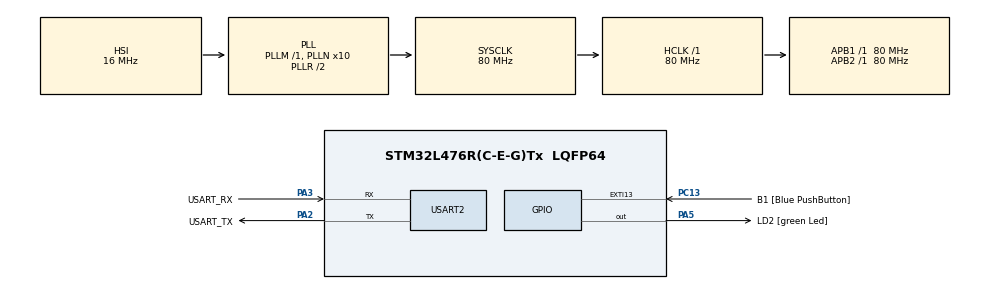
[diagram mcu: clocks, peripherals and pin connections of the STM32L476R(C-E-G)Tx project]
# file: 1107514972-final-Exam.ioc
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Mcu.Family=STM32L4
Mcu.Name=STM32L476R(C-E-G)Tx
Mcu.Package=LQFP64
NVIC.PriorityGroup=NVIC_PRIORITYGROUP_4
PA13\ (JTMS-SWDIO).GPIO_Label=TMS
PA13\ (JTMS-SWDIO).Mode=Serial_Wire
PA13\ (JTMS-SWDIO).Signal=SYS_JTMS-SWDIO
PA14\ (JTCK-SWCLK).GPIO_Label=TCK
PA14\ (JTCK-SWCLK).Mode=Serial_Wire
PA14\ (JTCK-SWCLK).Signal=SYS_JTCK-SWCLK
PA2.GPIO_Label=USART_TX
PA2.GPIO_Mode=GPIO_MODE_AF_PP
PA2.GPIO_PuPd=GPIO_NOPULL
PA2.GPIO_Speed=GPIO_SPEED_FREQ_VERY_HIGH
PA2.Mode=Asynchronous
PA2.Signal=USART2_TX
PA3.GPIO_Label=USART_RX
PA3.GPIO_Mode=GPIO_MODE_AF_PP
PA3.GPIO_PuPd=GPIO_NOPULL
PA3.GPIO_Speed=GPIO_SPEED_FREQ_VERY_HIGH
PA3.Mode=Asynchronous
PA3.Signal=USART2_RX
PA5.GPIO_Label=LD2 [green Led]
PA5.GPIO_ModeDefaultOutputPP=GPIO_MODE_OUTPUT_PP
PA5.GPIO_PuPd=GPIO_NOPULL
PA5.GPIO_Speed=GPIO_SPEED_FREQ_LOW
PA5.Signal=GPIO_Output
PB3\ (JTDO-TRACESWO).GPIO_Label=SWO
PB3\ (JTDO-TRACESWO).Signal=SYS_JTDO-SWO
PB8.Signal=I2C1_SCL
PB9.Signal=I2C1_SDA
PC13.GPIO_Label=B1 [Blue PushButton]
PC13.GPIO_ModeDefaultEXTI=GPIO_MODE_IT_FALLING
PC13.GPIO_PuPd=GPIO_NOPULL
PC13.Signal=GPXTI13
PC14-OSC32_IN\ (PC14).Mode=LSE-External-Oscillator
PC14-OSC32_IN\ (PC14).Signal=RCC_OSC32_IN
PC15-OSC32_OUT\ (PC15).Mode=LSE-External-Oscillator
PC15-OSC32_OUT\ (PC15).Signal=RCC_OSC32_OUT
PH0-OSC_IN\ (PH0).Signal=RCC_OSC_IN
PH1-OSC_OUT\ (PH1).Signal=RCC_OSC_OUT
ProjectManager.HeapSize=0x200
ProjectManager.StackSize=0x400
ProjectManager.TargetToolchain=STM32CubeIDE
RCC.ADCFreq_Value=64000000
RCC.AHBFreq_Value=80000000
RCC.APB1Freq_Value=80000000
RCC.APB1TimFreq_Value=80000000
RCC.APB2Freq_Value=80000000
RCC.APB2TimFreq_Value=80000000
RCC.CortexFreq_Value=80000000
RCC.HCLKFreq_Value=80000000
RCC.HSE_VALUE=8000000
RCC.HSI_VALUE=16000000
RCC.MSI_VALUE=4000000
RCC.PLLN=10
RCC.PLLSourceVirtual=RCC_PLLSOURCE_HSI
RCC.PREFETCH_ENABLE=1
RCC.SYSCLKFreq_VALUE=80000000
RCC.SYSCLKSource=RCC_SYSCLKSOURCE_PLLCLK
RCC.USBFreq_Value=64000000
RCC.VCOOutputFreq_Value=160000000
USART2.VirtualMode-Asynchronous=VM_ASYNC
board=NUCLEO-L476RG

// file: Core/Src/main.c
/* USER CODE BEGIN Header */
/**
  ******************************************************************************
  * @file           : JOHAN BEJARANO
  * @brief          : Main program body
  ******************************************************************************
  * @attention
  *
  * Copyright (c) 2023 STMicroelectronics.
  * All rights reserved.
  * This software is licensed under terms that can be found in the LICENSE file
  * in the root directory of this software component.
  * If no LICENSE file comes with this software, it is provided AS-IS.
  *
  ******************************************************************************
  */
/* USER CODE END Header */
#include "main.h"
#include "ssd1306.h"
#include "ring_buffer.h"
#include <string.h>
#include "stm32l4xx_hal.h"

UART_HandleTypeDef huart2;

#define UART_BUFFER_SIZE 1
uint8_t uart_rx_buffer[UART_BUFFER_SIZE];
ring_buffer_t uart_ring_buffer;

void SystemClock_Config(void);
static void MX_GPIO_Init(void);
static void MX_USART2_UART_Init(void);
void process_commands(void);
void display_message(const char *message, uint32_t duration_ms);
void clear_display(void);

/*
.
.
.
.
*/

/* Application entry point */
int main(void) {
    /* MCU Configuration--------------------------------------------------------*/
    HAL_Init();
    SystemClock_Config();
    MX_GPIO_Init();
    MX_USART2_UART_Init();

    /* Initialize the OLED display */
    ssd1306_Init();
    clear_display(); // Clear the display and show the "Waiting" message

    /* Initialize the ring buffer */
    ring_buffer_init(&uart_ring_buffer, uart_rx_buffer, sizeof(uart_rx_buffer));

    /* Start UART in interrupt mode for a single byte reception */
    HAL_UART_Receive_IT(&huart2, uart_rx_buffer, sizeof(uart_rx_buffer));

  /* Infinite loop */
  while (1)
  {
	  // Verificar y procesar los datos en el buffer...
	  process_commands();

  }
}

void SystemClock_Config(void)
{
  RCC_OscInitTypeDef RCC_OscInitStruct = {0};
  RCC_ClkInitTypeDef RCC_ClkInitStruct = {0};

  /** Configure the main internal regulator output voltage
  */
  if (HAL_PWREx_ControlVoltageScaling(PWR_REGULATOR_VOLTAGE_SCALE1) != HAL_OK)
  {
    Error_Handler();
  }

  /** Initializes the RCC Oscillators according to the specified parameters
  * in the RCC_OscInitTypeDef structure.
  */
  RCC_OscInitStruct.OscillatorType = RCC_OSCILLATORTYPE_HSI;
  RCC_OscInitStruct.HSIState = RCC_HSI_ON;
  RCC_OscInitStruct.HSICalibrationValue = RCC_HSICALIBRATION_DEFAULT;
  RCC_OscInitStruct.PLL.PLLState = RCC_PLL_ON;
  RCC_OscInitStruct.PLL.PLLSource = RCC_PLLSOURCE_HSI;
  RCC_OscInitStruct.PLL.PLLM = 1;
  RCC_OscInitStruct.PLL.PLLN = 10;
  RCC_OscInitStruct.PLL.PLLP = RCC_PLLP_DIV7;
  RCC_OscInitStruct.PLL.PLLQ = RCC_PLLQ_DIV2;
  RCC_OscInitStruct.PLL.PLLR = RCC_PLLR_DIV2;
  if (HAL_RCC_OscConfig(&RCC_OscInitStruct) != HAL_OK)
  {
    Error_Handler();
  }

  /** Initializes the CPU, AHB and APB buses clocks
  */
  RCC_ClkInitStruct.ClockType = RCC_CLOCKTYPE_HCLK|RCC_CLOCKTYPE_SYSCLK
                              |RCC_CLOCKTYPE_PCLK1|RCC_CLOCKTYPE_PCLK2;
  RCC_ClkInitStruct.SYSCLKSource = RCC_SYSCLKSOURCE_PLLCLK;
  RCC_ClkInitStruct.AHBCLKDivider = RCC_SYSCLK_DIV1;
  RCC_ClkInitStruct.APB1CLKDivider = RCC_HCLK_DIV1;
  RCC_ClkInitStruct.APB2CLKDivider = RCC_HCLK_DIV1;

  if (HAL_RCC_ClockConfig(&RCC_ClkInitStruct, FLASH_LATENCY_4) != HAL_OK)
  {
    Error_Handler();
  }
}

static void MX_USART2_UART_Init(void)
{

  huart2.Instance = USART2;
  huart2.Init.BaudRate = 115200;
  huart2.Init.WordLength = UART_WORDLENGTH_8B;
  huart2.Init.StopBits = UART_STOPBITS_1;
  huart2.Init.Parity = UART_PARITY_NONE;
  huart2.Init.Mode = UART_MODE_TX_RX;
  huart2.Init.HwFlowCtl = UART_HWCONTROL_NONE;
  huart2.Init.OverSampling = UART_OVERSAMPLING_16;
  huart2.Init.OneBitSampling = UART_ONE_BIT_SAMPLE_DISABLE;
  huart2.AdvancedInit.AdvFeatureInit = UART_ADVFEATURE_NO_INIT;
  if (HAL_UART_Init(&huart2) != HAL_OK)
  {
    Error_Handler();
  }

}

static void MX_GPIO_Init(void)
{
  GPIO_InitTypeDef GPIO_InitStruct = {0};

  /* GPIO Ports Clock Enable */
  __HAL_RCC_GPIOC_CLK_ENABLE();
  __HAL_RCC_GPIOH_CLK_ENABLE();
  __HAL_RCC_GPIOA_CLK_ENABLE();
  __HAL_RCC_GPIOB_CLK_ENABLE();

  /*Configure GPIO pin Output Level */
  HAL_GPIO_WritePin(LD2_GPIO_Port, LD2_Pin, GPIO_PIN_RESET);

  /*Configure GPIO pin : B1_Pin */
  GPIO_InitStruct.Pin = B1_Pin;
  GPIO_InitStruct.Mode = GPIO_MODE_IT_FALLING;
  GPIO_InitStruct.Pull = GPIO_NOPULL;
  HAL_GPIO_Init(B1_GPIO_Port, &GPIO_InitStruct);

  /*Configure GPIO pin : LD2_Pin */
  GPIO_InitStruct.Pin = LD2_Pin;
  GPIO_InitStruct.Mode = GPIO_MODE_OUTPUT_PP;
  GPIO_InitStruct.Pull = GPIO_NOPULL;
  GPIO_InitStruct.Speed = GPIO_SPEED_FREQ_LOW;
  HAL_GPIO_Init(LD2_GPIO_Port, &GPIO_InitStruct);

}

/* USER CODE BEGIN 4 */
void process_commands(void) {
    static char command_buffer[20];
    static int command_length = 0;
    static int failed_attempts = 0;
    uint8_t data;

    // Process data from the ring buffer
    while (ring_buffer_get(&uart_ring_buffer, &data)) {
        if (data == '\r' || data == '\n') { // Command delimiter
            command_buffer[command_length] = '\0'; // Null-terminate the command

            // Check if the command matches the student code
            if (strcmp(command_buffer, "1107514972") == 0) {
                display_message("Success", 10000);
                failed_attempts = 0;
            } else {
                failed_attempts++;
                if (failed_attempts >= 3) {
                    display_message("Blocked", 30000);
                    failed_attempts = 0;
                } else {
                    display_message("Failed", 10000);
                }
            }
            command_length = 0; // Reset for the next command
        } else {
            if (command_length < sizeof(command_buffer) - 1) {
                command_buffer[command_length++] = data; // Store data in the command buffer
            }
        }
    }
}

void display_message(const char *message, uint32_t duration_ms) {
    ssd1306_Fill(Black);
    ssd1306_SetCursor(2, 0);
    ssd1306_WriteString(message, Font_11x18, White);
    ssd1306_UpdateScreen();

    HAL_Delay(duration_ms);
    clear_display();
}

void clear_display(void) {
    ssd1306_Fill(Black);
    ssd1306_SetCursor(2, 0);
    ssd1306_WriteString("Waiting", Font_11x18, White);
    ssd1306_UpdateScreen();
}

void HAL_UART_RxCpltCallback(UART_HandleTypeDef *huart) {
    if (huart->Instance == USART2) {
        // Store the received data in the ring buffer
        ring_buffer_put(&uart_ring_buffer, uart_rx_buffer[0]);
        // Restart the interrupt reception
        HAL_UART_Receive_IT(&huart2, uart_rx_buffer, sizeof(uart_rx_buffer));
    }
}

/* USER CODE END 4 */

void Error_Handler(void)
{
  __disable_irq();
  while (1)
  {
  }
}
